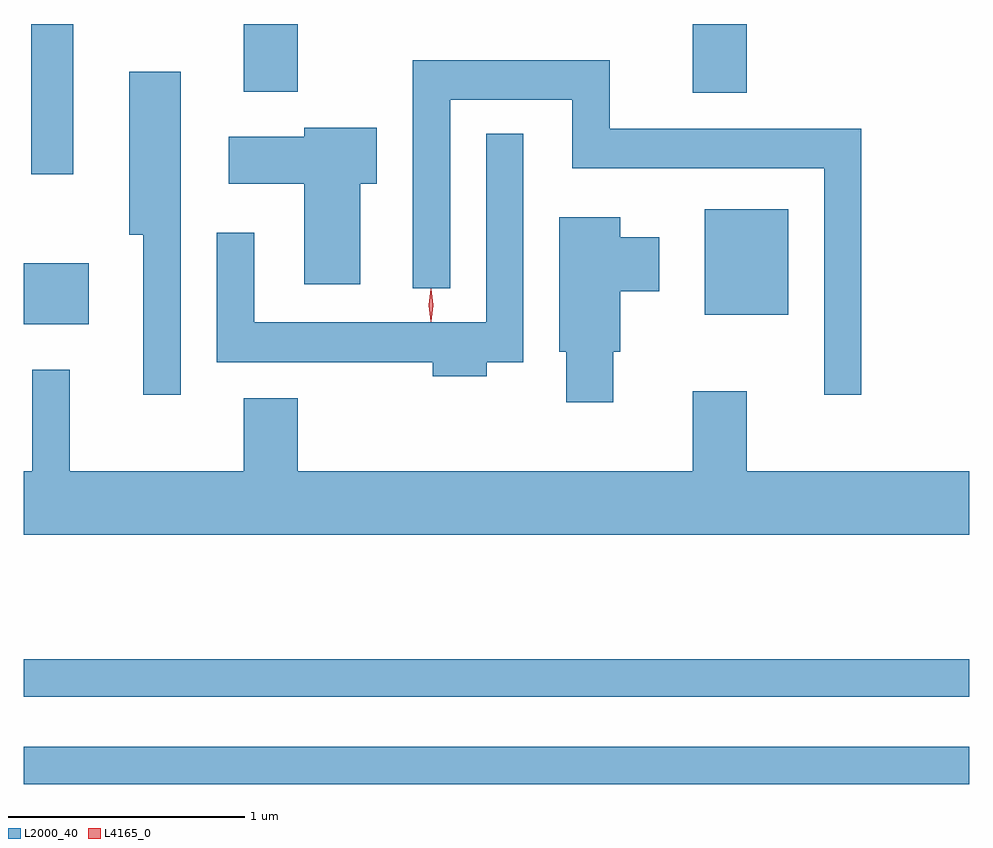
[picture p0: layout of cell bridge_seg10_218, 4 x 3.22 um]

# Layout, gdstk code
import gdstk
lib = gdstk.Library(unit=1e-6, precision=1e-09)
def R(c, l, rs):  # rectangles x0, y0, x1, y1
    for r in rs: c.add(gdstk.rectangle(r[:2], r[2:], *l))
def P(c, l, *ps):  # polygons
    for p in ps: c.add(gdstk.Polygon(p, *l))
L2000_40 = (2000, 40)
L4165_0 = (4165, 0)

bridge_seg10_218 = lib.new_cell('bridge_seg10_218')
R(bridge_seg10_218, L2000_40, [(1761.08,2088.441,1765.08,2088.599), (1761.08,2088.811,1765.08,2088.969), (1761.08,2090.386,1761.354,2090.644), (1763.961,2090.426,1764.314,2090.874), (1761.111,2091.021,1761.289,2091.657), (1763.911,2091.366,1764.139,2091.657), (1762.011,2091.371,1762.239,2091.657)])
P(bridge_seg10_218, L2000_40, [(1764.624,2091.214),(1763.559,2091.214),(1763.559,2091.504),(1762.726,2091.504),(1762.726,2090.538),(1762.884,2090.538),(1762.884,2091.336),(1763.401,2091.336),(1763.401,2091.046),(1764.466,2091.046),(1764.466,2090.088),(1764.624,2090.088)],
  [(1761.744,2091.454),(1761.526,2091.454),(1761.526,2090.766),(1761.586,2090.766),(1761.586,2090.088),(1761.744,2090.088)],
  [(1762.504,2090.981),(1762.574,2090.981),(1762.574,2091.219),(1762.266,2091.219),(1762.266,2091.179),(1761.946,2091.179),(1761.946,2090.981),(1762.266,2090.981),(1762.266,2090.556),(1762.504,2090.556)],
  [(1763.039,2090.226),(1763.194,2090.226),(1763.194,2091.193),(1763.036,2091.193),(1763.036,2090.394),(1762.054,2090.394),(1762.054,2090.773),(1761.896,2090.773),(1761.896,2090.226),(1762.811,2090.226),(1762.811,2090.166),(1763.039,2090.166)],
  [(1763.574,2090.271),(1763.604,2090.271),(1763.604,2090.526),(1763.769,2090.526),(1763.769,2090.754),(1763.604,2090.754),(1763.604,2090.839),(1763.346,2090.839),(1763.346,2090.271),(1763.376,2090.271),(1763.376,2090.056),(1763.574,2090.056)],
  [(1765.08,2089.764),(1764.139,2089.764),(1764.139,2090.104),(1763.911,2090.104),(1763.911,2089.764),(1762.239,2089.764),(1762.239,2090.074),(1762.011,2090.074),(1762.011,2089.764),(1761.274,2089.764),(1761.274,2090.193),(1761.116,2090.193),(1761.116,2089.764),(1761.08,2089.764),(1761.08,2089.496),(1765.08,2089.496)])
P(bridge_seg10_218, L4165_0, [(1762.802,2090.397),(1762.793,2090.467),(1762.802,2090.536),(1762.803,2090.536),(1762.803,2090.536),(1762.813,2090.467),(1762.803,2090.397),(1762.803,2090.397)])

lib.write_gds('bridge_seg10_218.gds')
